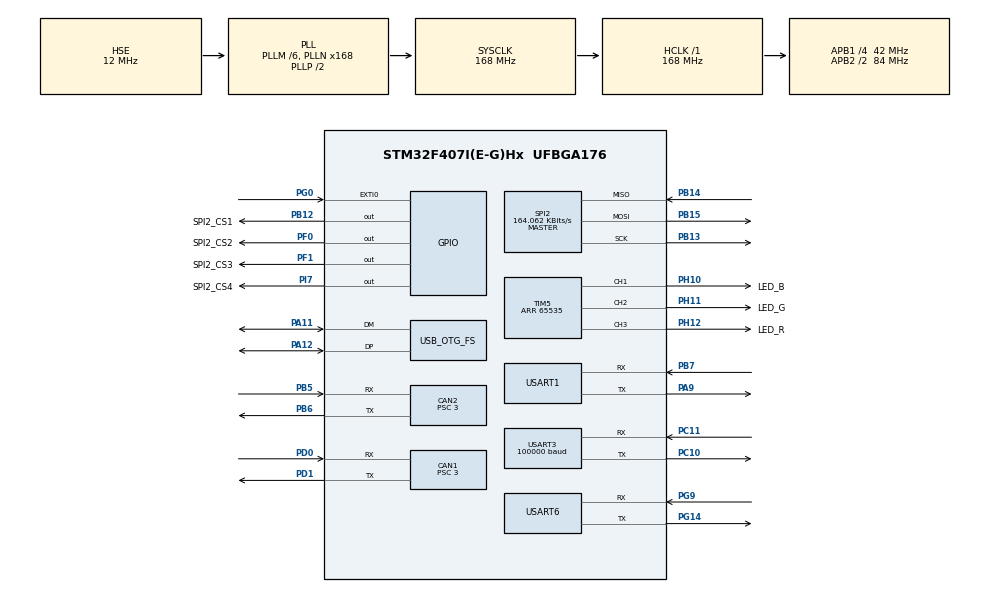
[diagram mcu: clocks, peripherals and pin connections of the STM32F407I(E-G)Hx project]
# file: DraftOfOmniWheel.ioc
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CAN1.BS1=CAN_BS1_10TQ
CAN1.BS2=CAN_BS2_3TQ
CAN1.CalculateBaudRate=1000000
CAN1.CalculateTimeBit=1000
CAN1.CalculateTimeQuantum=71.42857142857143
CAN1.Prescaler=3
CAN2.BS1=CAN_BS1_10TQ
CAN2.BS2=CAN_BS2_3TQ
CAN2.CalculateBaudRate=1000000
CAN2.CalculateTimeBit=1000
CAN2.CalculateTimeQuantum=71.42857142857143
CAN2.Prescaler=3
Dma.Request0=USART1_RX
Dma.Request1=USART1_TX
Dma.Request2=USART3_RX
Dma.Request3=USART6_RX
Dma.Request4=USART6_TX
Dma.USART1_RX.0.Direction=DMA_PERIPH_TO_MEMORY
Dma.USART1_RX.0.FIFOMode=DMA_FIFOMODE_DISABLE
Dma.USART1_RX.0.Instance=DMA2_Stream5
Dma.USART1_RX.0.MemDataAlignment=DMA_MDATAALIGN_BYTE
Dma.USART1_RX.0.MemInc=DMA_MINC_ENABLE
Dma.USART1_RX.0.Mode=DMA_NORMAL
Dma.USART1_RX.0.PeriphDataAlignment=DMA_PDATAALIGN_BYTE
Dma.USART1_RX.0.PeriphInc=DMA_PINC_DISABLE
Dma.USART1_RX.0.Priority=DMA_PRIORITY_HIGH
Dma.USART1_TX.1.Direction=DMA_MEMORY_TO_PERIPH
Dma.USART1_TX.1.FIFOMode=DMA_FIFOMODE_DISABLE
Dma.USART1_TX.1.Instance=DMA2_Stream7
Dma.USART1_TX.1.MemDataAlignment=DMA_MDATAALIGN_BYTE
Dma.USART1_TX.1.MemInc=DMA_MINC_ENABLE
Dma.USART1_TX.1.Mode=DMA_NORMAL
Dma.USART1_TX.1.PeriphDataAlignment=DMA_PDATAALIGN_BYTE
Dma.USART1_TX.1.PeriphInc=DMA_PINC_DISABLE
Dma.USART1_TX.1.Priority=DMA_PRIORITY_HIGH
Dma.USART3_RX.2.Direction=DMA_PERIPH_TO_MEMORY
Dma.USART3_RX.2.FIFOMode=DMA_FIFOMODE_DISABLE
Dma.USART3_RX.2.Instance=DMA1_Stream1
Dma.USART3_RX.2.MemDataAlignment=DMA_MDATAALIGN_BYTE
Dma.USART3_RX.2.MemInc=DMA_MINC_ENABLE
Dma.USART3_RX.2.Mode=DMA_NORMAL
Dma.USART3_RX.2.PeriphDataAlignment=DMA_PDATAALIGN_BYTE
Dma.USART3_RX.2.PeriphInc=DMA_PINC_DISABLE
Dma.USART3_RX.2.Priority=DMA_PRIORITY_VERY_HIGH
Dma.USART6_RX.3.Direction=DMA_PERIPH_TO_MEMORY
Dma.USART6_RX.3.FIFOMode=DMA_FIFOMODE_DISABLE
Dma.USART6_RX.3.Instance=DMA2_Stream1
Dma.USART6_RX.3.MemDataAlignment=DMA_MDATAALIGN_BYTE
Dma.USART6_RX.3.MemInc=DMA_MINC_ENABLE
Dma.USART6_RX.3.Mode=DMA_CIRCULAR
Dma.USART6_RX.3.PeriphDataAlignment=DMA_PDATAALIGN_BYTE
Dma.USART6_RX.3.PeriphInc=DMA_PINC_DISABLE
Dma.USART6_RX.3.Priority=DMA_PRIORITY_HIGH
Dma.USART6_TX.4.Direction=DMA_MEMORY_TO_PERIPH
Dma.USART6_TX.4.FIFOMode=DMA_FIFOMODE_DISABLE
Dma.USART6_TX.4.Instance=DMA2_Stream6
Dma.USART6_TX.4.MemDataAlignment=DMA_MDATAALIGN_BYTE
Dma.USART6_TX.4.MemInc=DMA_MINC_ENABLE
Dma.USART6_TX.4.Mode=DMA_NORMAL
Dma.USART6_TX.4.PeriphDataAlignment=DMA_PDATAALIGN_BYTE
Dma.USART6_TX.4.PeriphInc=DMA_PINC_DISABLE
Dma.USART6_TX.4.Priority=DMA_PRIORITY_HIGH
FREERTOS.INCLUDE_vTaskDelayUntil=1
FREERTOS.INCLUDE_xTaskGetHandle=1
FREERTOS.Tasks01=StartTask,3,128,ALL_Init,Default,NULL,Dynamic,NULL,NULL
FREERTOS.configTOTAL_HEAP_SIZE=30720
FREERTOS.configUSE_TIMERS=1
Mcu.Family=STM32F4
Mcu.Name=STM32F407I(E-G)Hx
Mcu.Package=UFBGA176
NVIC.CAN1_RX0_IRQn=true\:5\:0\:false\:false\:true\:true\:true\:true\:true
NVIC.CAN1_TX_IRQn=true\:5\:0\:false\:false\:true\:true\:true\:true\:true
NVIC.CAN2_RX0_IRQn=true\:5\:0\:false\:false\:true\:true\:true\:true\:true
NVIC.CAN2_TX_IRQn=true\:5\:0\:false\:false\:true\:true\:true\:true\:true
NVIC.DMA1_Stream1_IRQn=true\:5\:0\:false\:false\:true\:true\:false\:true\:true
NVIC.DMA2_Stream1_IRQn=true\:5\:0\:false\:false\:true\:true\:false\:true\:true
NVIC.DMA2_Stream5_IRQn=true\:5\:0\:false\:false\:true\:false\:false\:true\:true
NVIC.DMA2_Stream6_IRQn=true\:5\:0\:false\:false\:true\:true\:false\:true\:true
NVIC.DMA2_Stream7_IRQn=true\:5\:0\:false\:false\:true\:true\:false\:true\:true
NVIC.EXTI0_IRQn=true\:6\:0\:true\:false\:true\:true\:true\:true\:true
NVIC.OTG_FS_IRQn=true\:5\:0\:false\:false\:true\:true\:false\:true\:true
NVIC.PriorityGroup=NVIC_PRIORITYGROUP_4
NVIC.TIM1_UP_TIM10_IRQn=true\:5\:0\:false\:false\:true\:false\:false\:true\:true
NVIC.TimeBase=TIM1_UP_TIM10_IRQn
NVIC.TimeBaseIP=TIM1
NVIC.USART6_IRQn=true\:5\:0\:false\:false\:true\:true\:true\:true\:true
PA11.Mode=Device_Only
PA11.Signal=USB_OTG_FS_DM
PA12.Mode=Device_Only
PA12.Signal=USB_OTG_FS_DP
PA13.Mode=Serial_Wire
PA13.Signal=SYS_JTMS-SWDIO
PA14.Mode=Serial_Wire
PA14.Signal=SYS_JTCK-SWCLK
PA9.Mode=Asynchronous
PA9.Signal=USART1_TX
PB12.GPIO_Label=SPI2_CS1
PB12.Signal=GPIO_Output
PB13.Mode=Full_Duplex_Master
PB13.Signal=SPI2_SCK
PB14.Mode=Full_Duplex_Master
PB14.Signal=SPI2_MISO
PB15.Mode=Full_Duplex_Master
PB15.Signal=SPI2_MOSI
PB5.Mode=CAN_Activate
PB5.Signal=CAN2_RX
PB6.Mode=CAN_Activate
PB6.Signal=CAN2_TX
PB7.Mode=Asynchronous
PB7.Signal=USART1_RX
PC10.Mode=Asynchronous
PC10.Signal=USART3_TX
PC11.Mode=Asynchronous
PC11.Signal=USART3_RX
PD0.Mode=CAN_Activate
PD0.Signal=CAN1_RX
PD1.Mode=CAN_Activate
PD1.Signal=CAN1_TX
PF0.GPIO_Label=SPI2_CS2
PF0.Signal=GPIO_Output
PF1.GPIO_Label=SPI2_CS3
PF1.Signal=GPIO_Output
PG0.GPIO_ModeDefaultEXTI=GPIO_MODE_IT_FALLING
PG0.GPIO_PuPd=GPIO_PULLUP
PG0.Signal=GPXTI0
PG14.Mode=Asynchronous
PG14.Signal=USART6_TX
PG9.Mode=Asynchronous
PG9.Signal=USART6_RX
PH0-OSC_IN.Mode=HSE-External-Oscillator
PH0-OSC_IN.Signal=RCC_OSC_IN
PH1-OSC_OUT.Mode=HSE-External-Oscillator
PH1-OSC_OUT.Signal=RCC_OSC_OUT
PH10.GPIO_Label=LED_B
PH10.GPIO_PuPd=GPIO_PULLUP
PH10.GPIO_Speed=GPIO_SPEED_FREQ_HIGH
PH10.Signal=S_TIM5_CH1
PH11.GPIO_Label=LED_G
PH11.GPIO_PuPd=GPIO_PULLUP
PH11.GPIO_Speed=GPIO_SPEED_FREQ_HIGH
PH11.Signal=S_TIM5_CH2
PH12.GPIO_Label=LED_R
PH12.GPIO_PuPd=GPIO_PULLUP
PH12.GPIO_Speed=GPIO_SPEED_FREQ_HIGH
PH12.Signal=S_TIM5_CH3
PI7.GPIO_Label=SPI2_CS4
PI7.Signal=GPIO_Output
ProjectManager.HeapSize=0x200
ProjectManager.StackSize=0x400
ProjectManager.TargetToolchain=MDK-ARM V5
RCC.48MHZClocksFreq_Value=48000000
RCC.AHBFreq_Value=168000000
RCC.APB1CLKDivider=RCC_HCLK_DIV4
RCC.APB1Freq_Value=42000000
RCC.APB1TimFreq_Value=84000000
RCC.APB2CLKDivider=RCC_HCLK_DIV2
RCC.APB2Freq_Value=84000000
RCC.APB2TimFreq_Value=168000000
RCC.CortexFreq_Value=168000000
RCC.HCLKFreq_Value=168000000
RCC.HSE_VALUE=12000000
RCC.HSI_VALUE=16000000
RCC.LSE_VALUE=32768
RCC.PLLM=6
RCC.PLLN=168
RCC.PLLQ=7
RCC.SYSCLKFreq_VALUE=168000000
RCC.SYSCLKSource=RCC_SYSCLKSOURCE_PLLCLK
RCC.VCOOutputFreq_Value=336000000
RTC.AsynchPrediv=3
RTC.SynchPrediv=7
SH.S_TIM5_CH1.0=TIM5_CH1,PWM Generation1 CH1
SH.S_TIM5_CH2.0=TIM5_CH2,PWM Generation2 CH2
SH.S_TIM5_CH3.0=TIM5_CH3,PWM Generation3 CH3
SPI2.BaudRatePrescaler=SPI_BAUDRATEPRESCALER_256
SPI2.CLKPhase=SPI_PHASE_2EDGE
SPI2.CLKPolarity=SPI_POLARITY_HIGH
SPI2.CalculateBaudRate=164.062 KBits/s
SPI2.DataSize=SPI_DATASIZE_16BIT
SPI2.Direction=SPI_DIRECTION_2LINES
SPI2.Mode=SPI_MODE_MASTER
SPI2.VirtualType=VM_MASTER
TIM5.Channel-PWM\ Generation1\ CH1=TIM_CHANNEL_1
TIM5.Channel-PWM\ Generation2\ CH2=TIM_CHANNEL_2
TIM5.Channel-PWM\ Generation3\ CH3=TIM_CHANNEL_3
TIM5.Period=65535
TIM6.AutoReloadPreload=TIM_AUTORELOAD_PRELOAD_ENABLE
TIM6.Prescaler=83
USART1.VirtualMode=VM_ASYNC
USART3.BaudRate=100000
USART3.Parity=PARITY_EVEN
USART3.StopBits=STOPBITS_2
USART3.VirtualMode=VM_ASYNC
USART6.VirtualMode=VM_ASYNC
USB_DEVICE.CLASS_NAME_FS=CDC
USB_DEVICE.VirtualMode-CDC_FS=Cdc
USB_DEVICE.VirtualModeFS=Cdc_FS
USB_OTG_FS.VirtualMode=Device_Only
VP_FREERTOS_VS_CMSIS_V1.Mode=CMSIS_V1
VP_RTC_VS_RTC_Activate.Mode=RTC_Enabled
VP_RTC_VS_RTC_Calendar.Mode=RTC_Calendar
VP_SYS_VS_tim1.Mode=TIM1
VP_TIM5_VS_ClockSourceINT.Mode=Internal
VP_TIM6_VS_ClockSourceINT.Mode=Enable_Timer
VP_USB_DEVICE_VS_USB_DEVICE_CDC_FS.Mode=CDC_FS
board=custom

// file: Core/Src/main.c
/* USER CODE BEGIN Header */
/**
  ******************************************************************************
  * @file           : main.c
  * @brief          : Main program body
  ******************************************************************************
  * @attention
  *
  * Copyright (c) 2023 STMicroelectronics.
  * All rights reserved.
  *
  * This software is licensed under terms that can be found in the LICENSE file
  * in the root directory of this software component.
  * If no LICENSE file comes with this software, it is provided AS-IS.
  *
  ******************************************************************************
  */
/* USER CODE END Header */
#include "main.h"
#include "cmsis_os.h"
#include "can.h"
#include "dma.h"
#include "rtc.h"
#include "spi.h"
#include "tim.h"
#include "usart.h"
#include "usb_device.h"
#include "gpio.h"

/* USER CODE BEGIN Includes */
#include "bsp_delay.h"
#include "trcConfig.h"
#include "trcRecorder.h"
/* USER CODE END Includes */

void SystemClock_Config(void);
void MX_FREERTOS_Init(void);

int main(void)
{

  /* MCU Configuration--------------------------------------------------------*/

  /* Reset of all peripherals, Initializes the Flash interface and the Systick. */
  HAL_Init();

  /* Configure the system clock */
  SystemClock_Config();

  /* Initialize all configured peripherals */
  MX_GPIO_Init();
  MX_DMA_Init();
  MX_CAN1_Init();
  MX_USART1_UART_Init();
  MX_TIM5_Init();
  MX_CAN2_Init();
  MX_USART3_UART_Init();
  MX_USART6_UART_Init();
  MX_RTC_Init();
  MX_SPI2_Init();
  MX_TIM6_Init();
  /* USER CODE BEGIN 2 */
  delay_init();
	HAL_Delay(500);

  /* USER CODE END 2 */

  /* Call init function for freertos objects (in cmsis_os2.c) */
  MX_FREERTOS_Init();

  /* Start scheduler */
  osKernelStart();

  /* We should never get here as control is now taken by the scheduler */

  /* Infinite loop */
  while (1)
  {

  }
}

void SystemClock_Config(void)
{
  RCC_OscInitTypeDef RCC_OscInitStruct = {0};
  RCC_ClkInitTypeDef RCC_ClkInitStruct = {0};

  /** Configure the main internal regulator output voltage
  */
  __HAL_RCC_PWR_CLK_ENABLE();
  __HAL_PWR_VOLTAGESCALING_CONFIG(PWR_REGULATOR_VOLTAGE_SCALE1);

  /** Initializes the RCC Oscillators according to the specified parameters
  * in the RCC_OscInitTypeDef structure.
  */
  RCC_OscInitStruct.OscillatorType = RCC_OSCILLATORTYPE_LSI|RCC_OSCILLATORTYPE_HSE;
  RCC_OscInitStruct.HSEState = RCC_HSE_ON;
  RCC_OscInitStruct.LSIState = RCC_LSI_ON;
  RCC_OscInitStruct.PLL.PLLState = RCC_PLL_ON;
  RCC_OscInitStruct.PLL.PLLSource = RCC_PLLSOURCE_HSE;
  RCC_OscInitStruct.PLL.PLLM = 6;
  RCC_OscInitStruct.PLL.PLLN = 168;
  RCC_OscInitStruct.PLL.PLLP = RCC_PLLP_DIV2;
  RCC_OscInitStruct.PLL.PLLQ = 7;
  if (HAL_RCC_OscConfig(&RCC_OscInitStruct) != HAL_OK)
  {
    Error_Handler();
  }

  /** Initializes the CPU, AHB and APB buses clocks
  */
  RCC_ClkInitStruct.ClockType = RCC_CLOCKTYPE_HCLK|RCC_CLOCKTYPE_SYSCLK
                              |RCC_CLOCKTYPE_PCLK1|RCC_CLOCKTYPE_PCLK2;
  RCC_ClkInitStruct.SYSCLKSource = RCC_SYSCLKSOURCE_PLLCLK;
  RCC_ClkInitStruct.AHBCLKDivider = RCC_SYSCLK_DIV1;
  RCC_ClkInitStruct.APB1CLKDivider = RCC_HCLK_DIV4;
  RCC_ClkInitStruct.APB2CLKDivider = RCC_HCLK_DIV2;

  if (HAL_RCC_ClockConfig(&RCC_ClkInitStruct, FLASH_LATENCY_5) != HAL_OK)
  {
    Error_Handler();
  }
}

void HAL_TIM_PeriodElapsedCallback(TIM_HandleTypeDef *htim)
{
  if (htim->Instance == TIM1) {
    HAL_IncTick();
  }
}

void Error_Handler(void)
{
  __disable_irq();
  while (1)
  {
  }
}

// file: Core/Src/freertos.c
/* USER CODE BEGIN Header */
/**
  ******************************************************************************
  * File Name          : freertos.c
  * Description        : Code for freertos applications
  ******************************************************************************
  * @attention
  *
  * Copyright (c) 2023 STMicroelectronics.
  * All rights reserved.
  *
  * This software is licensed under terms that can be found in the LICENSE file
  * in the root directory of this software component.
  * If no LICENSE file comes with this software, it is provided AS-IS.
  *
  ******************************************************************************
  */
/* USER CODE END Header */

#include "FreeRTOS.h"
#include "task.h"
#include "main.h"
#include "cmsis_os.h"

/* USER CODE BEGIN Includes */
#include "pid.h"
#include "BSP_Can.h"
#include "BSP_Usart.h"

#include "Cloud_Control.h"
#include "Steer_Chassis.h"
#include "Protocol_Judgement.h"

#include "DT7.h"
#include "Task_LED.h"
#include "BSP_Test.h"
#include "Saber_C3.h"
#include "MA600_use.h"
#include "N100.h"
#include "UI.h"
#include "PowerControl.h"
/* USER CODE END Includes */

/* USER CODE BEGIN Variables */

/***********Queues************/
QueueHandle_t CAN1_ReceiveHandle;
QueueHandle_t CAN2_ReceiveHandle;
QueueHandle_t CAN_SendHandle;
/***********Tasks*************/
osThreadId Task_Can1MsgRecHandle;
osThreadId Task_Can2MsgRecHandle;
osThreadId Task_CanSendHandle;
osThreadId Task_SPI2MsgRecHandle;
osThreadId Move_DataHandle;
osThreadId led_RGB_flow_handle;
osThreadId Robot_Control_Handle;
osThreadId Robot_UI_Handle;
osThreadId Task_OffLineCheck_Handle;
osThreadId Task_VofaAssistHandle;

/* USER CODE END Variables */
osThreadId StartTaskHandle;

/* USER CODE BEGIN FunctionPrototypes */
extern void Can1Receives(void const *argument);
extern void Can2Receives(void const *argument);
extern void AllCanSend(void const *argument);
extern void SPI2Receives(void const *argument);
extern void Robot_Control(void const *argument);
extern void Show_Data(void const *argument);
extern void Robot_UI(void const *argument);
extern void Off_Line_Check(void const *argument);
extern void Vofa_Assist(void const *argument);

/* USER CODE END FunctionPrototypes */

void ALL_Init(void const * argument);

extern void MX_USB_DEVICE_Init(void);
void MX_FREERTOS_Init(void); /* (MISRA C 2004 rule 8.1) */

/* GetIdleTaskMemory prototype (linked to static allocation support) */
void vApplicationGetIdleTaskMemory( StaticTask_t **ppxIdleTaskTCBBuffer, StackType_t **ppxIdleTaskStackBuffer, uint32_t *pulIdleTaskStackSize );

/* GetTimerTaskMemory prototype (linked to static allocation support) */
void vApplicationGetTimerTaskMemory( StaticTask_t **ppxTimerTaskTCBBuffer, StackType_t **ppxTimerTaskStackBuffer, uint32_t *pulTimerTaskStackSize );

/* USER CODE BEGIN GET_IDLE_TASK_MEMORY */
static StaticTask_t xIdleTaskTCBBuffer;
static StackType_t xIdleStack[configMINIMAL_STACK_SIZE];

void vApplicationGetIdleTaskMemory( StaticTask_t **ppxIdleTaskTCBBuffer, StackType_t **ppxIdleTaskStackBuffer, uint32_t *pulIdleTaskStackSize )
{
  *ppxIdleTaskTCBBuffer = &xIdleTaskTCBBuffer;
  *ppxIdleTaskStackBuffer = &xIdleStack[0];
  *pulIdleTaskStackSize = configMINIMAL_STACK_SIZE;
  /* place for user code */
}
/* USER CODE END GET_IDLE_TASK_MEMORY */

/* USER CODE BEGIN GET_TIMER_TASK_MEMORY */
static StaticTask_t xTimerTaskTCBBuffer;
static StackType_t xTimerStack[configTIMER_TASK_STACK_DEPTH];

void vApplicationGetTimerTaskMemory( StaticTask_t **ppxTimerTaskTCBBuffer, StackType_t **ppxTimerTaskStackBuffer, uint32_t *pulTimerTaskStackSize )
{
  *ppxTimerTaskTCBBuffer = &xTimerTaskTCBBuffer;
  *ppxTimerTaskStackBuffer = &xTimerStack[0];
  *pulTimerTaskStackSize = configTIMER_TASK_STACK_DEPTH;
  /* place for user code */
}
/* USER CODE END GET_TIMER_TASK_MEMORY */

void MX_FREERTOS_Init(void) {

  /* USER CODE BEGIN RTOS_QUEUES */
  /* add queues, ... */
	 /* definition and creation of CAN1_Receive */
    CAN1_ReceiveHandle = xQueueCreate(32, sizeof(Can_Export_Data_t));

    /* definition and creation of CAN2_Receive */
    CAN2_ReceiveHandle = xQueueCreate(64, sizeof(Can_Export_Data_t));

    /* definition and creation of CAN_Send */
    CAN_SendHandle = xQueueCreate(32, sizeof(Can_Send_Data_t));
  /* USER CODE END RTOS_QUEUES */

  /* Create the thread(s) */
  /* definition and creation of StartTask */
  osThreadDef(StartTask, ALL_Init, osPriorityRealtime, 0, 128);
  StartTaskHandle = osThreadCreate(osThread(StartTask), NULL);

  /* USER CODE BEGIN RTOS_THREADS */
  /* add threads, ... */
   /* definition and creation of Can1ReceiveTask */
    osThreadDef(Can1_ReceiveTask, Can1Receives, osPriorityRealtime, 0, 128);
    Task_Can1MsgRecHandle = osThreadCreate(osThread(Can1_ReceiveTask), NULL);

    /* definition and creation of Can1ReceiveTask */
    osThreadDef(Can2_ReceiveTask, Can2Receives, osPriorityRealtime, 4, 256);
    Task_Can2MsgRecHandle = osThreadCreate(osThread(Can2_ReceiveTask), NULL);

    /* definition and creation of CanSendTask */
    osThreadDef(Can_SendTask, AllCanSend, osPriorityRealtime, 0, 256);
    Task_CanSendHandle = osThreadCreate(osThread(Can_SendTask), NULL);

	/* definition and creation of LED_RGB_Flow_Task */
    osThreadDef(led, led_RGB_flow_task, osPriorityAboveNormal, 0, 128);
    led_RGB_flow_handle = osThreadCreate(osThread(led), NULL);

	/* definition and creation of Robot_Control_Task */
    osThreadDef(Robot_Control_Task, Robot_Control, osPriorityRealtime, 0, 256);
    Robot_Control_Handle = osThreadCreate(osThread(Robot_Control_Task), NULL);

	/* definition and creation of Robot_Control_Task */
    osThreadDef(Robot_UI_Task, Robot_UI, osPriorityHigh, 0, 128);
    Robot_UI_Handle = osThreadCreate(osThread(Robot_UI_Task), NULL);

	/* definition and creation of Task_OffLineCheck_Handle */
    osThreadDef(Task_OffLineCheck_Handle, Off_Line_Check, osPriorityHigh, 0, 128);
    Task_OffLineCheck_Handle = osThreadCreate(osThread(Task_OffLineCheck_Handle), NULL);

	/* definitiom and creation of SPI2_Receive_Task */
	  osThreadDef(SPI2_ReceiveTask, SPI2Receives, osPriorityRealtime, 0, 256);
    Task_SPI2MsgRecHandle = osThreadCreate(osThread(SPI2_ReceiveTask), NULL);

	/* definition and creation of vofa_Task */
	  osThreadDef(VofaAssistTask, Vofa_Assist, osPriorityRealtime, 0, 128);
    Task_VofaAssistHandle = osThreadCreate(osThread(VofaAssistTask), NULL);

  /* USER CODE END RTOS_THREADS */

}

void ALL_Init(void const * argument)
{
  /* init code for USB_DEVICE */
  MX_USB_DEVICE_Init();
  /* USER CODE BEGIN ALL_Init */
  /* Infinite loop */
	for(;;)
	{
		taskENTER_CRITICAL();                 //�����ٽ���
	    /* CAN�жϳ�ʼ�� */
        Can_Fun.CAN_IT_Init(&hcan1, Can1_Type);
        Can_Fun.CAN_IT_Init(&hcan2, Can2_Type);
		   /*编码器初始化*/
		   MA600sInit();
		  /*���̳�ʼ��*/
		   chassis_init();
		  /*ң������ʼ��*/
		   DT7_Init();
	    /* PID��ʼ�� */
//	    for(int i = 0; i <= 3; i++)
//        {
//            Incremental_PIDInit(&M3508_Array_Pid[i], 20.0f, 0.22f, 0, 16384, 6000);
//        }
		    /**Yaw轴电机PID初始化**/
        Position_PIDInit(&M6020s_YawIPID, yaw_I_p, yaw_I_i, yaw_I_d, 0, 30000, 10000 , 6000);
        Position_PIDInit(&M6020s_YawOPID, yaw_O_p, yaw_O_i, yaw_O_d, 0, 30000, 10000 , 10000);
		    /**AimYaw电机PID初始化*/
        Position_PIDInit(&AutoAim_M6020s_YawIPID, yaw_I_Aim_p, yaw_I_Aim_i, yaw_I_Aim_d, yaw_I_Aim_f, 30000, 10000 , 10000);
        Position_PIDInit(&AutoAim_M6020s_YawOPID, yaw_O_Aim_p, yaw_O_Aim_i, yaw_O_Aim_d, yaw_O_Aim_f, 30000, 10000 , 10000);
		/*�豸��ʼ��*/
        Cloud_Init();						  //云台初始化

		/* ��������ϵͳ */
		JudgeSystem_USART_Receive_DMA(&huart6);
		Saber_Init();							//Saber IMU初始化

		UI_FUN.UI_init();
		vTaskDelete(StartTaskHandle);         //删除启动任务
    taskEXIT_CRITICAL();                  //退出临界区
	}
  /* USER CODE END ALL_Init */
}
